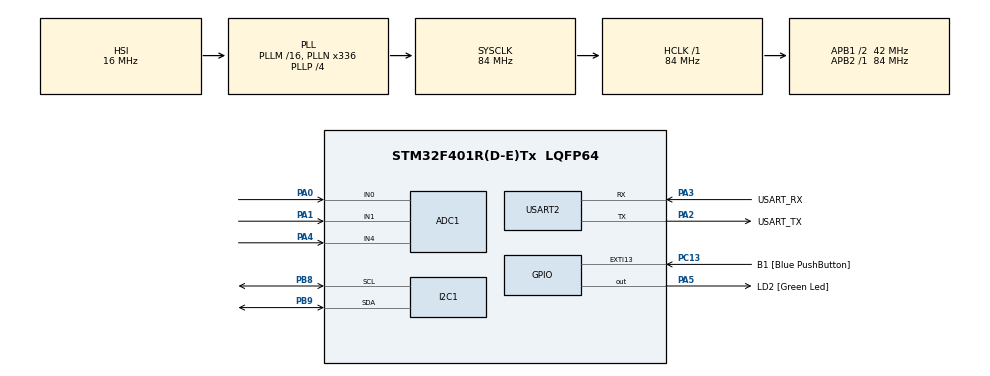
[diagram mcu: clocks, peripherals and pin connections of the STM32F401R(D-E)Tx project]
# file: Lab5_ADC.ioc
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ADC1.Channel-2\#ChannelRegularConversion=ADC_CHANNEL_0
ADC1.Channel-3\#ChannelInjectedConversion=ADC_CHANNEL_0
ADC1.Channel-4\#ChannelInjectedConversion=ADC_CHANNEL_1
ADC1.Channel-5\#ChannelRegularConversion=ADC_CHANNEL_1
ADC1.Channel-6\#ChannelInjectedConversion=ADC_CHANNEL_4
ADC1.Channel-7\#ChannelRegularConversion=ADC_CHANNEL_4
ADC1.ContinuousConvMode=ENABLE
ADC1.InjNumberOfConversion=3
ADC1.InjectedOffset-3\#ChannelInjectedConversion=0
ADC1.InjectedOffset-4\#ChannelInjectedConversion=0
ADC1.InjectedOffset-6\#ChannelInjectedConversion=0
ADC1.InjectedRank-3\#ChannelInjectedConversion=1
ADC1.InjectedRank-4\#ChannelInjectedConversion=2
ADC1.InjectedRank-6\#ChannelInjectedConversion=3
ADC1.NbrOfConversion=3
ADC1.NbrOfConversionFlag=1
ADC1.Rank-2\#ChannelRegularConversion=1
ADC1.Rank-5\#ChannelRegularConversion=2
ADC1.Rank-7\#ChannelRegularConversion=3
ADC1.SamplingTime-2\#ChannelRegularConversion=ADC_SAMPLETIME_480CYCLES
ADC1.SamplingTime-3\#ChannelInjectedConversion=ADC_SAMPLETIME_480CYCLES
ADC1.SamplingTime-4\#ChannelInjectedConversion=ADC_SAMPLETIME_480CYCLES
ADC1.SamplingTime-5\#ChannelRegularConversion=ADC_SAMPLETIME_480CYCLES
ADC1.SamplingTime-6\#ChannelInjectedConversion=ADC_SAMPLETIME_480CYCLES
ADC1.SamplingTime-7\#ChannelRegularConversion=ADC_SAMPLETIME_480CYCLES
ADC1.ScanConvMode=ENABLE
ADC1.master=1
Mcu.Family=STM32F4
Mcu.Name=STM32F401R(D-E)Tx
Mcu.Package=LQFP64
NVIC.ADC_IRQn=true\:0\:0\:false\:false\:true\:true\:true\:true
NVIC.PriorityGroup=NVIC_PRIORITYGROUP_0
PA0-WKUP.Signal=ADCx_IN0
PA1.Signal=ADCx_IN1
PA13.GPIO_Label=TMS
PA13.Mode=Serial_Wire
PA13.Signal=SYS_JTMS-SWDIO
PA14.GPIO_Label=TCK
PA14.Mode=Serial_Wire
PA14.Signal=SYS_JTCK-SWCLK
PA2.GPIO_Label=USART_TX
PA2.GPIO_Mode=GPIO_MODE_AF_PP
PA2.GPIO_PuPd=GPIO_NOPULL
PA2.GPIO_Speed=GPIO_SPEED_FREQ_LOW
PA2.Mode=Asynchronous
PA2.Signal=USART2_TX
PA3.GPIO_Label=USART_RX
PA3.GPIO_Mode=GPIO_MODE_AF_PP
PA3.GPIO_PuPd=GPIO_NOPULL
PA3.GPIO_Speed=GPIO_SPEED_FREQ_LOW
PA3.Mode=Asynchronous
PA3.Signal=USART2_RX
PA4.Signal=ADCx_IN4
PA5.GPIO_Label=LD2 [Green Led]
PA5.GPIO_Mode=GPIO_MODE_OUTPUT_PP
PA5.GPIO_PuPd=GPIO_NOPULL
PA5.GPIO_Speed=GPIO_SPEED_FREQ_LOW
PA5.Signal=GPIO_Output
PB3.GPIO_Label=SWO
PB3.Signal=SYS_JTDO-SWO
PB8.Mode=I2C
PB8.Signal=I2C1_SCL
PB9.Mode=I2C
PB9.Signal=I2C1_SDA
PC13-ANTI_TAMP.GPIO_Label=B1 [Blue PushButton]
PC13-ANTI_TAMP.GPIO_ModeDefaultEXTI=GPIO_MODE_IT_FALLING
PC13-ANTI_TAMP.GPIO_PuPd=GPIO_NOPULL
PC13-ANTI_TAMP.Signal=GPXTI13
PC14-OSC32_IN.Mode=LSE-External-Oscillator
PC14-OSC32_IN.Signal=RCC_OSC32_IN
PC15-OSC32_OUT.Mode=LSE-External-Oscillator
PC15-OSC32_OUT.Signal=RCC_OSC32_OUT
PH0\ -\ OSC_IN.Mode=HSE-External-Clock-Source
PH0\ -\ OSC_IN.Signal=RCC_OSC_IN
PH1\ -\ OSC_OUT.Mode=HSE-External-Clock-Source
PH1\ -\ OSC_OUT.Signal=RCC_OSC_OUT
ProjectManager.HeapSize=0x200
ProjectManager.StackSize=0x400
ProjectManager.TargetToolchain=STM32CubeIDE
RCC.48MHZClocksFreq_Value=48000000
RCC.AHBFreq_Value=84000000
RCC.APB1CLKDivider=RCC_HCLK_DIV2
RCC.APB1Freq_Value=42000000
RCC.APB1TimFreq_Value=84000000
RCC.APB2Freq_Value=84000000
RCC.APB2TimFreq_Value=84000000
RCC.CortexFreq_Value=84000000
RCC.HCLKFreq_Value=84000000
RCC.HSE_VALUE=8000000
RCC.HSI_VALUE=16000000
RCC.PLLN=336
RCC.PLLP=RCC_PLLP_DIV4
RCC.PLLQ=7
RCC.SYSCLKFreq_VALUE=84000000
RCC.SYSCLKSource=RCC_SYSCLKSOURCE_PLLCLK
RCC.VCOOutputFreq_Value=336000000
SH.ADCx_IN0.0=ADC1_IN0,IN0
SH.ADCx_IN1.0=ADC1_IN1,IN1
SH.ADCx_IN4.0=ADC1_IN4,IN4
TIM5.Period=0xffffffff
TIM5.Prescaler=83
USART2.VirtualMode=VM_ASYNC
VP_TIM5_VS_ClockSourceINT.Mode=Internal
board=NUCLEO-F401RE

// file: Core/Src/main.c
/* USER CODE BEGIN Header */
/**
  ******************************************************************************
  * @file           : main.c
  * @brief          : Main program body
  ******************************************************************************
  * @attention
  *
  * Copyright (c) 2024 STMicroelectronics.
  * All rights reserved.
  *
  * This software is licensed under terms that can be found in the LICENSE file
  * in the root directory of this software component.
  * If no LICENSE file comes with this software, it is provided AS-IS.
  *
  ******************************************************************************
  */
/* USER CODE END Header */
#include "main.h"

/* USER CODE BEGIN Includes */
#include <stdio.h>
#include "lcd.h"

/* USER CODE END Includes */

ADC_HandleTypeDef hadc1;

I2C_HandleTypeDef hi2c1;

TIM_HandleTypeDef htim5;

UART_HandleTypeDef huart2;

/* USER CODE BEGIN PV */
TextLCDType hlcd;
/* USER CODE END PV */

void SystemClock_Config(void);
static void MX_GPIO_Init(void);
static void MX_USART2_UART_Init(void);
static void MX_ADC1_Init(void);
static void MX_TIM5_Init(void);
static void MX_I2C1_Init(void);
/* USER CODE BEGIN PFP */
#define ADC_BUF_SIZE 3
uint16_t adc_buffer[ADC_BUF_SIZE]; // buffer att hålla alla mina konverterade siffror
int adc_buf_ix = 0;// plats till nästa värde
uint8_t adc_ready_flag = 0;
#define JOY_X_IX 0
#define JOY_Y_IX 1
#define LIGHT_IX 2

/* USER CODE END PFP */

/* USER CODE BEGIN 0 */
uint16_t read_one_adc_value(ADC_HandleTypeDef *hadc)
{
	// Start ADC conversion in polling mode, with a timeout of 100 ms
	HAL_ADC_Start(hadc);
	// Wait for the ADC conversion to complete
	HAL_ADC_PollForConversion(hadc, 100);
		// Get the ADC converted value
	uint32_t reading = HAL_ADC_GetValue(hadc);
	// Stop the ADC to end the conversion
	HAL_ADC_Stop(hadc);
	// Return the result as a 16-bit integer
	return (uint16_t) reading;
}
float normalize_12bit(uint16_t x) {
    // 0.0 --> 1.0 bara positivt
    return (float)x / 4095.0 ;
}

float normalize_12bit_posneg(uint16_t x)
{
	 // Normalisera  [-1.0, 1.0]
    return (float) (2.0 * x) / 4095.0 - 1.0;
}
void HAL_ADC_ConvCpltCallback( ADC_HandleTypeDef *hadc )
{

	if(hadc -> Instance == ADC1)
	{
		uint16_t adc_value;
		adc_value =  HAL_ADC_GetValue(hadc);
		adc_buffer[adc_buf_ix] = adc_value;
		adc_buf_ix = (adc_buf_ix + 1) % ADC_BUF_SIZE;
		if(adc_buf_ix == 0)
		{
			adc_ready_flag++;
		}

	}
}
void adc_mode( TextLCDType *hlcd)
{
	float normalized_x = normalize_12bit_posneg(adc_buffer[JOY_X_IX]);
	char buffer[20];
	sprintf(buffer, "%+.2fx", normalized_x);
	TextLCD_Position(hlcd, 0, 0);
	TextLCD_PutStr(hlcd, buffer);

	char buffer1[20];
	float normalized_y = normalize_12bit_posneg(adc_buffer[JOY_Y_IX]);
	normalized_y = -normalized_y;
	sprintf(buffer1, "%+.2fy", normalized_y);
	TextLCD_Position(hlcd, 0, 1);
	TextLCD_PutStr(hlcd, buffer1);

	char buffer2[20];
	float normalized_light = normalize_12bit(adc_buffer[LIGHT_IX]);
	sprintf(buffer2, "%.3fL",((float) 1 - normalized_light));
	TextLCD_Position(hlcd, 10, 1);
	TextLCD_PutStr(hlcd, buffer2);
}
/* USER CODE END 0 */

int main(void)
{

  /* MCU Configuration--------------------------------------------------------*/

  /* Reset of all peripherals, Initializes the Flash interface and the Systick. */
  HAL_Init();

  /* Configure the system clock */
  SystemClock_Config();

  /* Initialize all configured peripherals */
  MX_GPIO_Init();
  MX_USART2_UART_Init();
  MX_ADC1_Init();
  MX_TIM5_Init();
  MX_I2C1_Init();
  /* USER CODE BEGIN 2 */
  //HAL_TIM_Base_Start(&htim5);

  TextLCD_Init(&hlcd, &hi2c1, 0x4E);
  TextLCD_Clear(&hlcd);

  HAL_ADC_Start_IT(&hadc1);
//  TextLCD_PutStr(&hlcd, "Hello");

  /* Infinite loop */
  /* USER CODE BEGIN WHILE */
	while (1)
	{

		if (adc_ready_flag > 0)
		{
			adc_mode(&hlcd);
			adc_ready_flag --;
		}

    /* USER CODE END WHILE */

  }
}

void SystemClock_Config(void)
{
  RCC_OscInitTypeDef RCC_OscInitStruct = {0};
  RCC_ClkInitTypeDef RCC_ClkInitStruct = {0};

  /** Configure the main internal regulator output voltage
  */
  __HAL_RCC_PWR_CLK_ENABLE();
  __HAL_PWR_VOLTAGESCALING_CONFIG(PWR_REGULATOR_VOLTAGE_SCALE2);

  /** Initializes the RCC Oscillators according to the specified parameters
  * in the RCC_OscInitTypeDef structure.
  */
  RCC_OscInitStruct.OscillatorType = RCC_OSCILLATORTYPE_HSI;
  RCC_OscInitStruct.HSIState = RCC_HSI_ON;
  RCC_OscInitStruct.HSICalibrationValue = RCC_HSICALIBRATION_DEFAULT;
  RCC_OscInitStruct.PLL.PLLState = RCC_PLL_ON;
  RCC_OscInitStruct.PLL.PLLSource = RCC_PLLSOURCE_HSI;
  RCC_OscInitStruct.PLL.PLLM = 16;
  RCC_OscInitStruct.PLL.PLLN = 336;
  RCC_OscInitStruct.PLL.PLLP = RCC_PLLP_DIV4;
  RCC_OscInitStruct.PLL.PLLQ = 7;
  if (HAL_RCC_OscConfig(&RCC_OscInitStruct) != HAL_OK)
  {
    Error_Handler();
  }

  /** Initializes the CPU, AHB and APB buses clocks
  */
  RCC_ClkInitStruct.ClockType = RCC_CLOCKTYPE_HCLK|RCC_CLOCKTYPE_SYSCLK
                              |RCC_CLOCKTYPE_PCLK1|RCC_CLOCKTYPE_PCLK2;
  RCC_ClkInitStruct.SYSCLKSource = RCC_SYSCLKSOURCE_PLLCLK;
  RCC_ClkInitStruct.AHBCLKDivider = RCC_SYSCLK_DIV1;
  RCC_ClkInitStruct.APB1CLKDivider = RCC_HCLK_DIV2;
  RCC_ClkInitStruct.APB2CLKDivider = RCC_HCLK_DIV1;

  if (HAL_RCC_ClockConfig(&RCC_ClkInitStruct, FLASH_LATENCY_2) != HAL_OK)
  {
    Error_Handler();
  }
}

static void MX_ADC1_Init(void)
{

  ADC_ChannelConfTypeDef sConfig = {0};
  ADC_InjectionConfTypeDef sConfigInjected = {0};

  /** Configure the global features of the ADC (Clock, Resolution, Data Alignment and number of conversion)
  */
  hadc1.Instance = ADC1;
  hadc1.Init.ClockPrescaler = ADC_CLOCK_SYNC_PCLK_DIV4;
  hadc1.Init.Resolution = ADC_RESOLUTION_12B;
  hadc1.Init.ScanConvMode = ENABLE;
  hadc1.Init.ContinuousConvMode = ENABLE;
  hadc1.Init.DiscontinuousConvMode = DISABLE;
  hadc1.Init.ExternalTrigConvEdge = ADC_EXTERNALTRIGCONVEDGE_NONE;
  hadc1.Init.ExternalTrigConv = ADC_SOFTWARE_START;
  hadc1.Init.DataAlign = ADC_DATAALIGN_RIGHT;
  hadc1.Init.NbrOfConversion = 3;
  hadc1.Init.DMAContinuousRequests = DISABLE;
  hadc1.Init.EOCSelection = ADC_EOC_SINGLE_CONV;
  if (HAL_ADC_Init(&hadc1) != HAL_OK)
  {
    Error_Handler();
  }

  /** Configure for the selected ADC regular channel its corresponding rank in the sequencer and its sample time.
  */
  sConfig.Channel = ADC_CHANNEL_0;
  sConfig.Rank = 1;
  sConfig.SamplingTime = ADC_SAMPLETIME_480CYCLES;
  if (HAL_ADC_ConfigChannel(&hadc1, &sConfig) != HAL_OK)
  {
    Error_Handler();
  }

  /** Configure for the selected ADC regular channel its corresponding rank in the sequencer and its sample time.
  */
  sConfig.Channel = ADC_CHANNEL_1;
  sConfig.Rank = 2;
  if (HAL_ADC_ConfigChannel(&hadc1, &sConfig) != HAL_OK)
  {
    Error_Handler();
  }

  /** Configure for the selected ADC regular channel its corresponding rank in the sequencer and its sample time.
  */
  sConfig.Channel = ADC_CHANNEL_4;
  sConfig.Rank = 3;
  if (HAL_ADC_ConfigChannel(&hadc1, &sConfig) != HAL_OK)
  {
    Error_Handler();
  }

  /** Configures for the selected ADC injected channel its corresponding rank in the sequencer and its sample time
  */
  sConfigInjected.InjectedChannel = ADC_CHANNEL_0;
  sConfigInjected.InjectedRank = 1;
  sConfigInjected.InjectedNbrOfConversion = 3;
  sConfigInjected.InjectedSamplingTime = ADC_SAMPLETIME_480CYCLES;
  sConfigInjected.ExternalTrigInjecConvEdge = ADC_EXTERNALTRIGINJECCONVEDGE_NONE;
  sConfigInjected.ExternalTrigInjecConv = ADC_INJECTED_SOFTWARE_START;
  sConfigInjected.AutoInjectedConv = DISABLE;
  sConfigInjected.InjectedDiscontinuousConvMode = DISABLE;
  sConfigInjected.InjectedOffset = 0;
  if (HAL_ADCEx_InjectedConfigChannel(&hadc1, &sConfigInjected) != HAL_OK)
  {
    Error_Handler();
  }

  /** Configures for the selected ADC injected channel its corresponding rank in the sequencer and its sample time
  */
  sConfigInjected.InjectedChannel = ADC_CHANNEL_1;
  sConfigInjected.InjectedRank = 2;
  if (HAL_ADCEx_InjectedConfigChannel(&hadc1, &sConfigInjected) != HAL_OK)
  {
    Error_Handler();
  }

  /** Configures for the selected ADC injected channel its corresponding rank in the sequencer and its sample time
  */
  sConfigInjected.InjectedChannel = ADC_CHANNEL_4;
  sConfigInjected.InjectedRank = 3;
  if (HAL_ADCEx_InjectedConfigChannel(&hadc1, &sConfigInjected) != HAL_OK)
  {
    Error_Handler();
  }

}

static void MX_I2C1_Init(void)
{

  hi2c1.Instance = I2C1;
  hi2c1.Init.ClockSpeed = 100000;
  hi2c1.Init.DutyCycle = I2C_DUTYCYCLE_2;
  hi2c1.Init.OwnAddress1 = 0;
  hi2c1.Init.AddressingMode = I2C_ADDRESSINGMODE_7BIT;
  hi2c1.Init.DualAddressMode = I2C_DUALADDRESS_DISABLE;
  hi2c1.Init.OwnAddress2 = 0;
  hi2c1.Init.GeneralCallMode = I2C_GENERALCALL_DISABLE;
  hi2c1.Init.NoStretchMode = I2C_NOSTRETCH_DISABLE;
  if (HAL_I2C_Init(&hi2c1) != HAL_OK)
  {
    Error_Handler();
  }

}

static void MX_TIM5_Init(void)
{

  TIM_ClockConfigTypeDef sClockSourceConfig = {0};
  TIM_MasterConfigTypeDef sMasterConfig = {0};

  htim5.Instance = TIM5;
  htim5.Init.Prescaler = 83;
  htim5.Init.CounterMode = TIM_COUNTERMODE_UP;
  htim5.Init.Period = 0xffffffff;
  htim5.Init.ClockDivision = TIM_CLOCKDIVISION_DIV1;
  htim5.Init.AutoReloadPreload = TIM_AUTORELOAD_PRELOAD_DISABLE;
  if (HAL_TIM_Base_Init(&htim5) != HAL_OK)
  {
    Error_Handler();
  }
  sClockSourceConfig.ClockSource = TIM_CLOCKSOURCE_INTERNAL;
  if (HAL_TIM_ConfigClockSource(&htim5, &sClockSourceConfig) != HAL_OK)
  {
    Error_Handler();
  }
  sMasterConfig.MasterOutputTrigger = TIM_TRGO_RESET;
  sMasterConfig.MasterSlaveMode = TIM_MASTERSLAVEMODE_DISABLE;
  if (HAL_TIMEx_MasterConfigSynchronization(&htim5, &sMasterConfig) != HAL_OK)
  {
    Error_Handler();
  }

}

static void MX_USART2_UART_Init(void)
{

  huart2.Instance = USART2;
  huart2.Init.BaudRate = 115200;
  huart2.Init.WordLength = UART_WORDLENGTH_8B;
  huart2.Init.StopBits = UART_STOPBITS_1;
  huart2.Init.Parity = UART_PARITY_NONE;
  huart2.Init.Mode = UART_MODE_TX_RX;
  huart2.Init.HwFlowCtl = UART_HWCONTROL_NONE;
  huart2.Init.OverSampling = UART_OVERSAMPLING_16;
  if (HAL_UART_Init(&huart2) != HAL_OK)
  {
    Error_Handler();
  }

}

static void MX_GPIO_Init(void)
{
  GPIO_InitTypeDef GPIO_InitStruct = {0};

  /* GPIO Ports Clock Enable */
  __HAL_RCC_GPIOC_CLK_ENABLE();
  __HAL_RCC_GPIOH_CLK_ENABLE();
  __HAL_RCC_GPIOA_CLK_ENABLE();
  __HAL_RCC_GPIOB_CLK_ENABLE();

  /*Configure GPIO pin Output Level */
  HAL_GPIO_WritePin(LD2_GPIO_Port, LD2_Pin, GPIO_PIN_RESET);

  /*Configure GPIO pin : B1_Pin */
  GPIO_InitStruct.Pin = B1_Pin;
  GPIO_InitStruct.Mode = GPIO_MODE_IT_FALLING;
  GPIO_InitStruct.Pull = GPIO_NOPULL;
  HAL_GPIO_Init(B1_GPIO_Port, &GPIO_InitStruct);

  /*Configure GPIO pin : LD2_Pin */
  GPIO_InitStruct.Pin = LD2_Pin;
  GPIO_InitStruct.Mode = GPIO_MODE_OUTPUT_PP;
  GPIO_InitStruct.Pull = GPIO_NOPULL;
  GPIO_InitStruct.Speed = GPIO_SPEED_FREQ_LOW;
  HAL_GPIO_Init(LD2_GPIO_Port, &GPIO_InitStruct);

}

void Error_Handler(void)
{
  __disable_irq();
  while (1)
  {
  }
}
